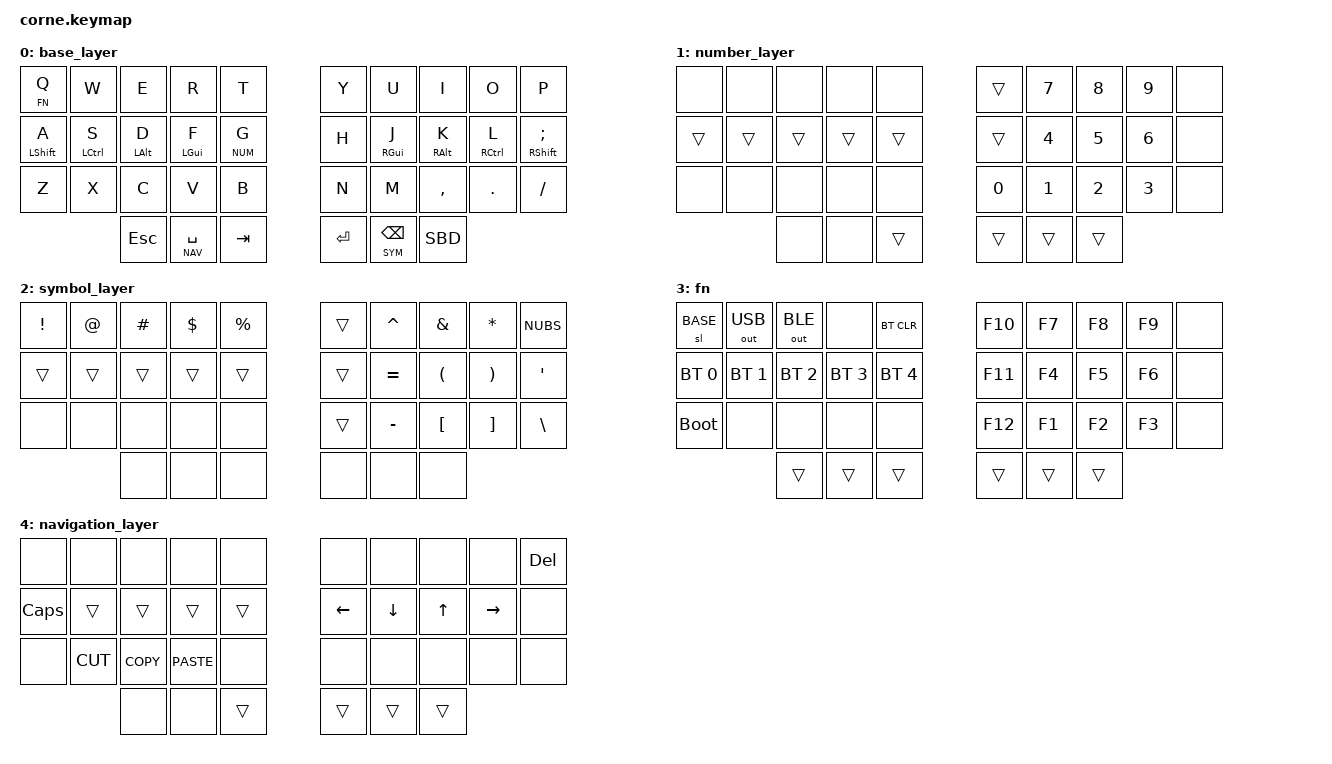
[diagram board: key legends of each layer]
#include <dt-bindings/zmk/keys.h>
#include <dt-bindings/zmk/outputs.h>
#include <dt-bindings/zmk/bt.h>

#include <behaviors.dtsi>

#include "zmk-helpers/helper.h"
#include "keys/36.h"


// global
#define QUICK_TAP_MS 150
#define TAPPING_TERM_MS 200
#define PRIOR_IDLE_MS 150

// layers
#define BASE 0
#define NUM 1
#define SYM 2
#define FN 3
#define NAV 4

// redefined keycodes
#define _LWIN_    &kp LEFT_WIN
#define _RALT_    &kp RIGHT_ALT
#define _SPC_     &kp SPACE
#define _RET_     &kp RETURN 
#define _CUT_     &kp K_CUT
#define _PASTE_     &kp K_PASTE
#define _COPY_     &kp K_COPY

#define _MO_NUM_ &mo NUMBER

#define OUTTOG   &out OUT_TOG // toggle keyboard output bluetooth/usb
#define ___      &trans      //  transparent
#define _x_      &none

// tap: sticky-shift | shift + tap/ double-tap: caps-word | hold: shift
ZMK_MOD_MORPH(smart_shift,
    bindings = <&sk LSHFT>, <&caps_word>;
    mods = <(MOD_LSFT)>;
)

/* left-hand HRMs */
ZMK_BEHAVIOR(hml, hold_tap,
    flavor = "balanced";
    tapping-term-ms = <TAPPING_TERM_MS>;
    quick-tap-ms = <QUICK_TAP_MS>;
    require-prior-idle-ms = <PRIOR_IDLE_MS>;
    bindings = <&kp>, <&kp>;
    hold-trigger-key-positions = <LEFT_KEYS THUMB_KEYS>;
    hold-trigger-on-release;
)

/* right-hand HRMs */
ZMK_BEHAVIOR(hmr, hold_tap,
    flavor = "balanced";
    tapping-term-ms = <TAPPING_TERM_MS>;
    quick-tap-ms = <QUICK_TAP_MS>;
    require-prior-idle-ms = <PRIOR_IDLE_MS>;
    bindings = <&kp>, <&kp>;
    hold-trigger-key-positions = <RIGHT_KEYS THUMB_KEYS>;
    hold-trigger-on-release;
)

/* left-hand HRM shift */
ZMK_BEHAVIOR(hml_s, hold_tap,
    flavor = "balanced";
    tapping-term-ms = <200>;
    quick-tap-ms = <175>;                // repeat on tap-into-hold
    require-prior-idle-ms = <150>;         // requires PR #1387
    bindings = <&kp>, <&kp>;
    hold-trigger-key-positions = <LEFT_KEYS THUMB_KEYS>;
    // hold-trigger-on-release;             // delay positional check until key-release
)

/* right-hand HRM shift */
ZMK_BEHAVIOR(hmr_s, hold_tap,
    flavor = "balanced";
    tapping-term-ms = <200>;
    quick-tap-ms = <175>;                // repeat on tap-into-hold
    require-prior-idle-ms = <150>;         // requires PR #1387
    bindings = <&kp>, <&kp>;
    hold-trigger-key-positions = <RIGHT_KEYS THUMB_KEYS>;
    // hold-trigger-on-release;             // delay positional check until key-release
)


/ {
  chosen {
    zmk,matrix_transform = &five_column_transform;
  };
};
/ {
  combos {
      compatible = "zmk,combos";
      iu_backspace_combo {
        timeout-ms = <50>; // Adjust as needed
        bindings = <&kp COLON>; // Action: Backspace
        key-positions = <16 17>;
        layers = < BASE >;
      };
      jk_colon_combo {
        timeout-ms = <50>; // Adjust as needed
        bindings = <&smart_shift>; // Action: Backspace
        key-positions = <12 13>;
        layers = < BASE >;
      };

  };
  behaviors {
    hm: homerow_mods {
      compatible = "zmk,behavior-hold-tap";
      flavor = "balanced";
      tapping-term-ms = <280>;
      quick-tap-ms = <QUICK_TAP_MS>; 
      bindings = <&kp>, <&kp>;
      // label = "HOMEROW_MODS";
      #binding-cells = <2>;
      // hold-trigger-key-positions = <TRIGGER_POS>;
      hold-trigger-on-release;

    };
    SBD: S_BSPC_DEL {
         compatible = "zmk,behavior-mod-morph";
            #binding-cells = <0>;
            bindings = <&kp BSPC>, <&kp DEL>;
            mods = <(MOD_LSFT|MOD_RSFT)>;
    };
    oneshot_esc: oneshot {
          compatible = "zmk,behavior-oneshot";
          label = "OneShot ESC";
          #binding-cells = <0>;
      };
  };

};

/ {
  keymap {
    compatible = "zmk,keymap";
    base_layer { 
      bindings = <
        // ╭────────────────────────────────────────────────────────────────╮   ╭────────────────────────────────────────────────────────────────╮
        // │     Q     │     W     │     E     │    R      │     T     │   │     Y     │     U    YM │     I     │     O     │     P     │
              &lt FN Q       &kp W       &kp E      &kp R        &kp T           &kp Y       &kp U       &kp I       &kp O       &kp P
        // ├────────────┼────────────┼────────────┼────────────┼────────────┤   ├────────────┼────────────┼────────────┼  ──────────┼───────────┤
        // │     A     │     S     │     D     │     F     │     G     │   │     H     │     J     │     K     │     L     │     '     │
            &hml LSHIFT A  &hml LCTRL S  &hml LALT D  &hml LGUI F  &lt NUM G      &kp H     &hmr RGUI J   &hmr RALT K    &hmr RCTRL L   &hmr RSHIFT SEMI
        // ├───────────┼───────────┼───────────┼───────────┼───────────┤   ├───────────┼───────────┼───────────┼───────────┼───────────┤
        // │     Z     │     X     │     C     │     V     │     B     │   │     N     │     M     │    ,/;    │    ./:    │     /     │
               &kp Z       &kp X       &kp C       &kp V       &kp B           &kp N       &kp M     &kp COMMA     &kp DOT      &kp FSLH
        // ╰───────────┼───────────┼───────────┼───────────┼───────────╯   ╰───────────┼───────────┼───────────┼───────────┼───────────╯
                                     &kp ESC  &lt NAV SPACE  &kp TAB         _RET_    &lt SYM BSPC    &SBD 
        //                         │                                   │   │                                   │
        //                         ╰───────────────────────────────────╯   ╰───────────────────────────────────╯
      >;
    };
    number_layer { 
      bindings = <
        // ╭───────────────────────────────────────────────────────────╮   ╭───────────────────────────────────────────────────────────╮
        // │     _     │     _     │     _     │     _     │     _     │   │     _     │     _     │     _     │     _     │     _     │
                _x_         _x_         _x_         _x_         _x_             ___        &kp N7       &kp N8       &kp N9        _x_
        // ├───────────┼───────────┼───────────┼───────────┼───────────┤   ├───────────┼───────────┼───────────┼───────────┼───────────┤
        // │     _     │     _     │     _     │     _     │     _     │   │     _     │     _     │     _     │     _     │     _     │
                ___         ___         ___         ___         ___             ___        &kp N4       &kp N5       &kp N6        _x_
        // ├───────────┼───────────┼───────────┼───────────┼───────────┤   ├───────────┼───────────┼───────────┼───────────┼───────────┤
        // │     _     │     _     │     _     │     _     │     _     │   │     _     │     _     │     _     │     _     │     _     │
                _x_         _x_         _x_         _x_         _x_            &kp N0       &kp N1       &kp N2       &kp N3        _x_
        // ╰───────────┼───────────┼───────────┼───────────┼───────────╯   ╰───────────┼───────────┼───────────┼───────────┼───────────╯
                                        _x_         _x_         ___             ___         ___         ___ 
        //                         │                                   │   │                                   │
        //                         ╰───────────────────────────────────╯   ╰───────────────────────────────────╯
      >;
    };
    symbol_layer { 
      bindings = <
        // ╭───────────────────────────────────────────────────────────╮   ╭───────────────────────────────────────────────────────────╮
        // │     _     │     _     │     _     │     _     │     _     │   │     _     │     _     │     _     │     _     │     _     │
              &kp EXCL     &kp AT     &kp HASH    &kp DLLR   &kp PRCNT          ___      &kp CARET    &kp AMPS    &kp STAR    &kp NUBS 
        // ├───────────┼───────────┼───────────┼───────────┼───────────┤   ├───────────┼───────────┼───────────┼───────────┼───────────┤
        // │     _     │     _     │     _     │     _     │     _     │   │     _     │     _     │     _     │     _     │     _     │
                ___         ___         ___         ___         ___           ___ &kp EQUAL   &kp LPAR   &kp RPAR              &kp APOS
        // ├───────────┼───────────┼───────────┼───────────┼───────────┤   ├───────────┼───────────┼───────────┼───────────┼───────────┤
        // │     _     │     _     │     _     │     _     │     _     │   │     _     │ {, <S>[   │  {, <S>[  │     _     │     _     │
                _x_         _x_         _x_         _x_         _x_          ___ &kp MINUS    &kp LBKT     &kp RBKT              &kp BSLH 
        // ╰───────────┼───────────┼───────────┼───────────┼───────────╯   ╰───────────┼───────────┼───────────┼───────────┼───────────╯
                                        _x_         _x_         _x_             _x_         _x_         _x_
        //                         │                                   │   │                                   │
        //                         ╰───────────────────────────────────╯   ╰───────────────────────────────────╯
      >;
    };

    fn { 
      bindings = <
        // ╭───────────────────────────────────────────────────────────╮   ╭───────────────────────────────────────────────────────────╮
        // │     _     │     _     │     _     │     _     │     _     │   │     _     │     _     │     _     │     _     │     _     │
              &sl BASE  &out OUT_USB &out OUT_BLE   _x_     &bt BT_CLR        &kp F10      &kp F7      &kp F8      &kp F9       _x_
        // ├───────────┼───────────┼───────────┼───────────┼───────────┤   ├───────────┼───────────┼───────────┼───────────┼───────────┤
        // │     _     │     _     │     _     │     _     │     _     │   │     _     │     _     │     _     │     _     │     _     │
            &bt BT_SEL 0 &bt BT_SEL 1 &bt BT_SEL 2 &bt BT_SEL 3 &bt BT_SEL 4  &kp F11      &kp F4       &kp F5       &kp F6     _x_
        // ├───────────┼───────────┼───────────┼───────────┼───────────┤   ├───────────┼───────────┼───────────┼───────────┼───────────┤
        // │     _     │     _     │     _     │     _     │     _     │   │     _     │           │           │     _     │     _     │
             &bootloader    _x_         _x_         _x_        _x_            &kp F12      &kp F1       &kp F2     &kp F3       _x_
        // ╰───────────┼───────────┼───────────┼───────────┼───────────╯   ╰───────────┼───────────┼───────────┼───────────┼───────────╯
                                        ___         ___         ___             ___         ___         ___ 
        //                         │                                   │   │                                   │
        //                         ╰───────────────────────────────────╯   ╰───────────────────────────────────╯
      >;
    };
    navigation_layer { 
      bindings = <
        // ╭───────────────────────────────────────────────────────────╮   ╭───────────────────────────────────────────────────────────╮
        // │     _     │     _     │     _     │     _     │     _     │   │     _     │     _     │     _     │     _     │     _     │
                _x_         _x_         _x_         _x_         _x_             _x_         _x_         _x_         _x_       &kp DEL 
        // ├───────────┼───────────┼───────────┼───────────┼───────────┤   ├───────────┼───────────┼───────────┼───────────┼───────────┤
        // │     _     │     _     │     _     │     _     │     _     │   │     _     │     _     │     _     │     _     │     _     │
              &kp CAPS      ___         ___         ___         ___           &kp LEFT    &kp DOWN     &kp UP    &kp RIGHT      _x_
        // ├───────────┼───────────┼───────────┼───────────┼───────────┤   ├───────────┼───────────┼───────────┼───────────┼───────────┤
        // │     _     │     _     │     _     │     _     │     _     │   │     _     │     _     │     _     │     _     │     _     │
                _x_         _CUT_      _COPY_     _PASTE_       _x_             _x_         _x_         _x_         _x_         _x_
        // ╰───────────┼───────────┼───────────┼───────────┼───────────╯   ╰───────────┼───────────┼───────────┼───────────┼───────────╯
                                        _x_         _x_         ___             ___         ___         ___
        //                         │                                   │   │                                   │
        //                         ╰───────────────────────────────────╯   ╰───────────────────────────────────╯
      >;
    };
  };
};

//                                  Template for new layers all keys are transparent
//      ╭───────────────────────────────────────────────────────────╮   ╭───────────────────────────────────────────────────────────╮
//      │     _     │     _     │     _     │     _     │     _     │   │     _     │     _     │     _     │     _     │     _     │
//           ___          ___         ___         ___         ___             ___         ___         ___         ___         ___
//      ├───────────┼───────────┼───────────┼───────────┼───────────┤   ├───────────┼───────────┼───────────┼───────────┼───────────┤
//      │     _     │     _     │     _     │     _     │     _     │   │     _     │     _     │     _     │     _     │     _     │
//           ___         ___         ___         ___         ___             ___         ___         ___         ___         ___
//      ├───────────┼───────────┼───────────┼───────────┼───────────┤   ├───────────┼───────────┼───────────┼───────────┼───────────┤
//      │     _     │     _     │     _     │     _     │     _     │   │     _     │     _     │     _     │     _     │     _     │
//           ___         ___         ___         ___         ___             ___         ___         ___         ___         ___
//      ╰───────────┼───────────┼───────────┼───────────┼───────────╯   ╰───────────┼───────────┼───────────┼───────────┼───────────╯
//                                   ___         ___         ___            ___         ___         ___
//                              │                                   │   │                                   │
//                              ╰───────────────────────────────────╯   ╰───────────────────────────────────╯
//



// vim:ft=cpp
